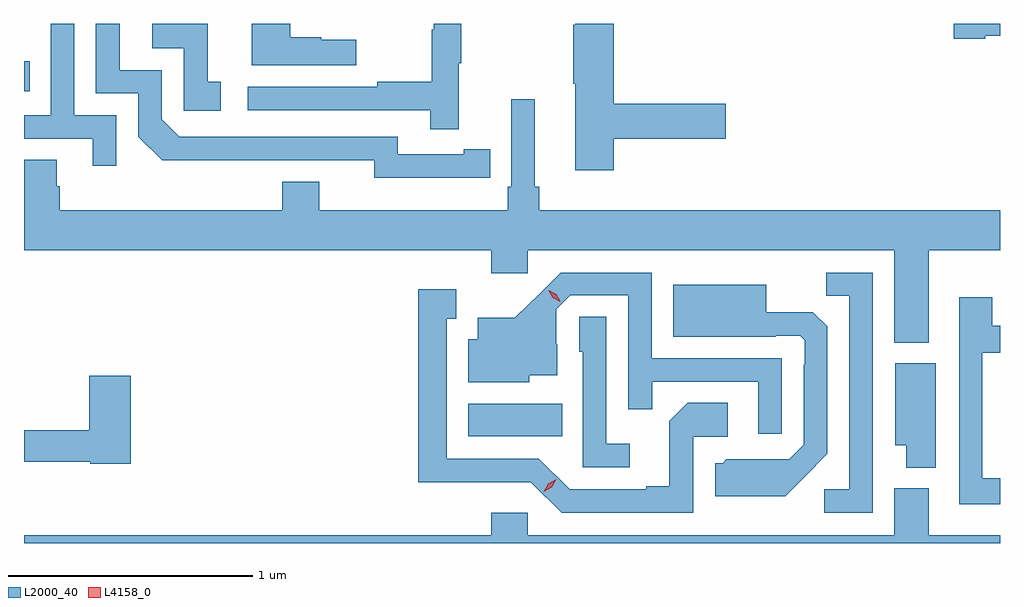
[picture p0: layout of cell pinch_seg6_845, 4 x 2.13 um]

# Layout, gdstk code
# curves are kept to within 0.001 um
import gdstk
lib = gdstk.Library(unit=1e-6, precision=1e-09)
def R(c, l, rs):  # rectangles x0, y0, x1, y1
    for r in rs: c.add(gdstk.rectangle(r[:2], r[2:], *l))
def P(c, l, *ps):  # polygons
    for p in ps: c.add(gdstk.Polygon(p, *l))
L2000_40 = (2000, 40)
L4158_0 = (4158, 0)

pinch_seg6_845 = lib.new_cell('pinch_seg6_845')
R(pinch_seg6_845, L2000_40, [(147.362,915.938,147.746,916.072), (145.541,917.352,145.565,917.475)])
P(pinch_seg6_845, L2000_40, [(147.959,917.158),(148.417,917.158),(148.417,917.3),(147.959,917.3),(147.959,917.628),(147.8,917.628),(147.8,917.624),(147.793,917.624),(147.793,917.383),(147.8,917.383),(147.8,917.028),(147.959,917.028)],
  [(147.344,916.998),(147.452,916.998),(147.452,917.114),(147.344,917.114),(147.344,917.094),(147.072,917.094),(147.072,917.166),(146.178,917.166),(146.106,917.238),(146.106,917.439),(145.933,917.439),(145.933,917.628),(145.836,917.628),(145.836,917.343),(146.01,917.343),(146.01,917.166),(146.108,917.069),(146.976,917.07),(146.976,916.997)],
  [(147.323,917.467),(147.334,917.467),(147.334,917.628),(147.22,917.628),(147.22,917.604),(147.213,917.604),(147.213,917.39),(146.989,917.39),(146.989,917.37),(146.457,917.37),(146.457,917.274),(147.205,917.274),(147.205,917.196),(147.323,917.196)],
  [(145.92,917.253),(145.746,917.253),(145.746,917.628),(145.65,917.628),(145.65,917.253),(145.541,917.253),(145.541,917.157),(145.823,917.157),(145.823,917.046),(145.92,917.046)],
  [(146.902,917.563),(146.759,917.563),(146.759,917.573),(146.632,917.573),(146.632,917.628),(146.474,917.628),(146.474,917.459),(146.902,917.459)],
  [(149.481,917.579),(149.541,917.579),(149.541,917.628),(149.352,917.628),(149.352,917.567),(149.481,917.567)],
  [(146.347,917.391),(146.294,917.391),(146.294,917.628),(146.067,917.628),(146.067,917.529),(146.196,917.529),(146.196,917.271),(146.347,917.271)],
  [(149.248,916.7),(149.541,916.7),(149.541,916.864),(147.653,916.864),(147.653,916.96),(147.634,916.96),(147.634,917.32),(147.537,917.32),(147.537,916.96),(147.524,916.96),(147.524,916.864),(146.752,916.864),(146.752,916.981),(146.6,916.981),(146.6,916.864),(145.688,916.864),(145.688,916.962),(145.675,916.962),(145.675,917.072),(145.541,917.072),(145.541,916.7),(147.455,916.7),(147.455,916.605),(147.606,916.605),(147.606,916.7),(149.108,916.7),(149.108,916.322),(149.248,916.322)],
  [(149.019,916.608),(148.828,916.608),(148.828,916.513),(148.923,916.513),(148.923,915.72),(148.821,915.72),(148.821,915.624),(149.019,915.624)],
  [(148.647,916.257),(148.113,916.257),(148.113,916.608),(147.74,916.608),(147.553,916.423),(147.401,916.423),(147.401,916.336),(147.362,916.336),(147.362,916.16),(147.612,916.16),(147.612,916.187),(147.727,916.187),(147.727,916.316),(147.723,916.316),(147.723,916.458),(147.78,916.515),(148.017,916.515),(148.017,916.048),(148.115,916.048),(148.115,916.161),(148.551,916.161),(148.551,915.948),(148.647,915.948)],
  [(148.741,915.773),(148.833,915.866),(148.833,916.388),(148.774,916.447),(148.582,916.447),(148.582,916.558),(148.202,916.558),(148.202,916.346),(148.622,916.346),(148.622,916.35),(148.722,916.35),(148.74,916.332),(148.74,916.232),(148.737,916.232),(148.737,915.903),(148.677,915.843),(148.42,915.844),(148.404,915.828),(148.373,915.828),(148.373,915.692),(148.661,915.692)],
  [(148.284,915.936),(148.426,915.936),(148.426,916.076),(148.261,916.076),(148.185,916),(148.185,915.733),(148.091,915.733),(148.091,915.72),(147.777,915.72),(147.651,915.846),(147.274,915.846),(147.274,916.419),(147.313,916.419),(147.313,916.54),(147.156,916.54),(147.156,915.749),(147.618,915.75),(147.744,915.624),(148.284,915.624)],
  [(149.541,915.765),(149.469,915.765),(149.469,916.281),(149.541,916.281),(149.541,916.39),(149.509,916.39),(149.509,916.507),(149.373,916.507),(149.373,915.66),(149.541,915.66)],
  [(148.024,915.907),(147.927,915.907),(147.927,916.427),(147.816,916.427),(147.816,916.284),(147.831,916.284),(147.831,915.81),(148.024,915.81)],
  [(149.278,916.237),(149.111,916.237),(149.111,915.902),(149.156,915.902),(149.156,915.809),(149.278,915.809)],
  [(145.979,916.186),(145.808,916.186),(145.808,915.962),(145.541,915.962),(145.541,915.834),(145.812,915.834),(145.812,915.826),(145.979,915.826)],
  [(149.541,915.532),(149.248,915.532),(149.248,915.724),(149.108,915.724),(149.108,915.532),(147.606,915.532),(147.606,915.625),(147.455,915.625),(147.455,915.532),(145.541,915.532),(145.541,915.5),(149.541,915.5)])
P(pinch_seg6_845, L4158_0, [(147.739,916.49),(147.708,916.506),(147.691,916.535),(147.691,916.536),(147.691,916.536),(147.722,916.52),(147.739,916.491),(147.739,916.49)],
  [(147.672,915.711),(147.672,915.711),(147.69,915.743),(147.722,915.762),(147.722,915.762),(147.722,915.761),(147.704,915.729),(147.672,915.711)])

lib.write_gds('pinch_seg6_845.gds')
